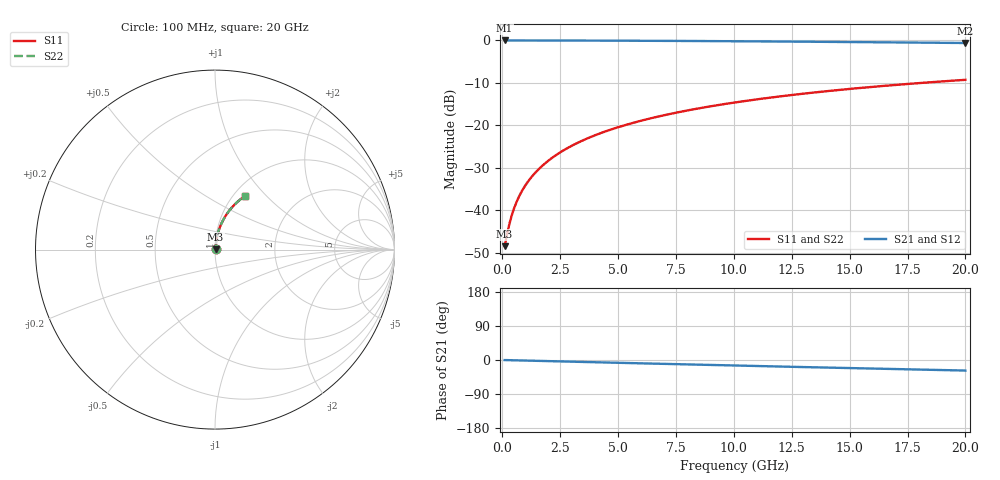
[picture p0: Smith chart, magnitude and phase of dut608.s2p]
! Touchstone file exported from HFSS 2026.1.0
!  File:  C:/ffzhzh/LocalFiles/Ansys_Project_Files/temp_train_TMRDL_608_1783008750_55676.aedt
!  Generated:  12:13:59 AM Jul  3, 2026
!  Design:  TMRDL
!  Project:  temp_train_TMRDL_608_1783008750_55676
! Variables:
!  h_bsmrdl = 2um
!  h_ox = 20um
!  h_rdl = 5um
!  h_sub = 80um
!  h_tmrdl = 3.17um
!  h_tsv = 80um
!  h_via = 3um
!  l_bsmrdl = 300um
!  l_sub = 717.46um
!  l_tmrdl = 317.46um
!  m_sub = 200um
!  pitch = 46.87um
!  r_tsv = 6um
!  s_tmrdl = 10um
!  w_bsmrdl = 18um
!  w_sub = 500um
!  w_tmrdl = 11.44um
!  x_tsv_center1 = 323.18um
!  x_tsv_center2 = 641.18um
!  x_tsv_center3 = 970.08um
!  x_tsv_center4 = 1288.08um
!  x_tsv_center5 = 1616.98um
!  x_tsv_center6 = 1934.98um
# GHz S MA R 50.000000
! Terminal data exported
! Port[1] = TM_RDL1_1_T1
! Port[2] = TM_RDL1_1_T2
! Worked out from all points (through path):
!   200 points, 100 MHz to 20 GHz, reference 50 ohm
!   highest |S21| = -0.03 dB at 100 MHz (marker M1); lowest = -0.6 dB at 20 GHz (marker M2)
!   group delay of S21, straight-line fit = 3.87 ps
!   lowest |S11| = -48.4 dB at 100 MHz (marker M3), VSWR 1.01, Z = 50.3 + j0.199 ohm
!   |S11| at or under -10 dB: start of sweep to 18.14 GHz
!   |S22| runs from -48.4 to -9.3 dB; largest |S21 - S12| = 4e-15
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0.1  0.00379 31.5  0.9968 -0.2  0.9968 -0.2  0.00379 31.5
! Gamma 0 0 0 0
! Port Impedance 50 0 50 0
0.2  0.005133 50.3  0.9967 -0.3  0.9967 -0.3  0.005133 50.3
0.3  0.006791 60.5  0.9967 -0.5  0.9967 -0.5  0.006791 60.5
0.4  0.008569 66.4  0.9966 -0.6  0.9966 -0.6  0.008569 66.4
0.5  0.0104 70.2  0.9966 -0.8  0.9966 -0.8  0.0104 70.2
0.6  0.01225 72.8  0.9965 -0.9  0.9965 -0.9  0.01225 72.8
0.8  0.01598 76.0  0.9963 -1.2  0.9963 -1.2  0.01598 76.0
1.1  0.02161 78.7  0.9961 -1.6  0.9961 -1.6  0.02161 78.7
1.5  0.02915 80.4  0.9959 -2.2  0.9959 -2.2  0.02915 80.4
1.8  0.03482 81.1  0.9956 -2.7  0.9956 -2.7  0.03482 81.1
2.1  0.0405 81.4  0.9953 -3.1  0.9953 -3.1  0.0405 81.4
2.7  0.05185 81.6  0.9947 -4.0  0.9947 -4.0  0.05185 81.6
3.5  0.06694 81.2  0.9936 -5.2  0.9936 -5.2  0.06694 81.2
4.2  0.08009 80.7  0.9924 -6.2  0.9924 -6.2  0.08009 80.7
5  0.09501 79.8  0.9909 -7.4  0.9909 -7.4  0.09501 79.8
5.9  0.1117 78.8  0.9888 -8.7  0.9888 -8.7  0.1117 78.8
6.8  0.1281 77.7  0.9865 -10.0  0.9865 -10.0  0.1281 77.7
8.3  0.1551 75.7  0.9821 -12.1  0.9821 -12.1  0.1551 75.7
10.1  0.1868 73.4  0.9759 -14.7  0.9759 -14.7  0.1868 73.4
13.4  0.2424 69.0  0.9626 -19.2  0.9626 -19.2  0.2424 69.0
16.7  0.2946 64.8  0.9471 -23.6  0.9471 -23.6  0.2946 64.8
20  0.3432 60.6  0.9301 -27.8  0.9301 -27.8  0.3432 60.6
